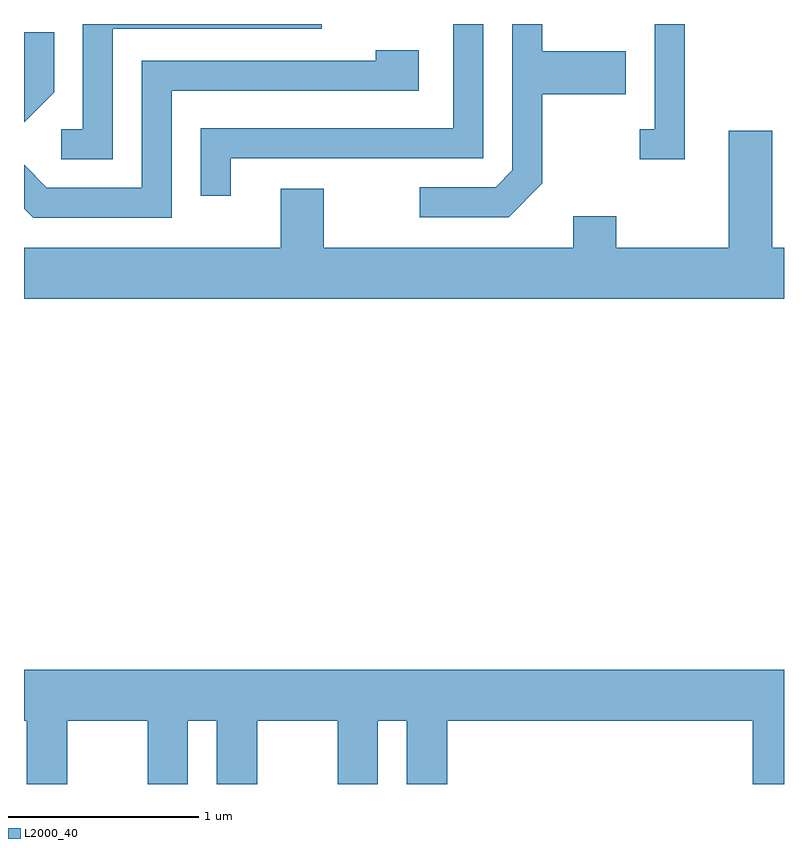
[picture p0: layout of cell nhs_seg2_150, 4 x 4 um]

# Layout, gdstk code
import gdstk
lib = gdstk.Library(unit=1e-6, precision=1e-09)
def P(c, l, *ps):  # polygons
    for p in ps: c.add(gdstk.Polygon(p, *l))
L2000_40 = (2000, 40)

nhs_seg2_150 = lib.new_cell('nhs_seg2_150')
P(nhs_seg2_150, L2000_40, [(190.699,1009.096),(192.029,1009.096),(192.029,1009.802),(191.871,1009.802),(191.871,1009.254),(190.541,1009.254),(190.541,1008.898),(190.699,1008.898)],
  [(193.089,1009.802),(192.931,1009.802),(192.931,1009.249),(192.853,1009.249),(192.853,1009.091),(193.089,1009.091)],
  [(192.339,1008.964),(192.339,1009.431),(192.779,1009.431),(192.779,1009.659),(192.339,1009.659),(192.339,1009.802),(192.181,1009.802),(192.181,1009.032),(192.094,1008.944),(191.693,1008.944),(191.693,1008.786),(192.162,1008.786)],
  [(190.079,1009.776),(191.178,1009.776),(191.178,1009.802),(189.921,1009.802),(189.921,1009.249),(189.808,1009.249),(189.808,1009.091),(190.079,1009.091)],
  [(189.769,1009.444),(189.769,1009.758),(189.611,1009.758),(189.611,1009.285)],
  [(190.389,1009.451),(191.689,1009.451),(191.689,1009.664),(191.461,1009.664),(191.461,1009.609),(190.231,1009.609),(190.231,1008.939),(189.732,1008.939),(189.611,1009.06),(189.611,1008.829),(189.659,1008.781),(190.389,1008.781)],
  [(193.611,1008.624),(193.549,1008.624),(193.549,1009.239),(193.321,1009.239),(193.321,1008.624),(192.729,1008.624),(192.729,1008.789),(192.501,1008.789),(192.501,1008.624),(191.189,1008.624),(191.189,1008.934),(190.961,1008.934),(190.961,1008.624),(189.611,1008.624),(189.611,1008.356),(193.611,1008.356)],
  [(189.839,1006.136),(190.261,1006.136),(190.261,1005.802),(190.474,1005.802),(190.474,1006.136),(190.626,1006.136),(190.626,1005.802),(190.839,1005.802),(190.839,1006.136),(191.261,1006.136),(191.261,1005.802),(191.474,1005.802),(191.474,1006.136),(191.626,1006.136),(191.626,1005.802),(191.839,1005.802),(191.839,1006.136),(193.446,1006.136),(193.446,1005.802),(193.611,1005.802),(193.611,1006.404),(189.611,1006.404),(189.611,1006.136),(189.626,1006.136),(189.626,1005.802),(189.839,1005.802)])

lib.write_gds('nhs_seg2_150.gds')
